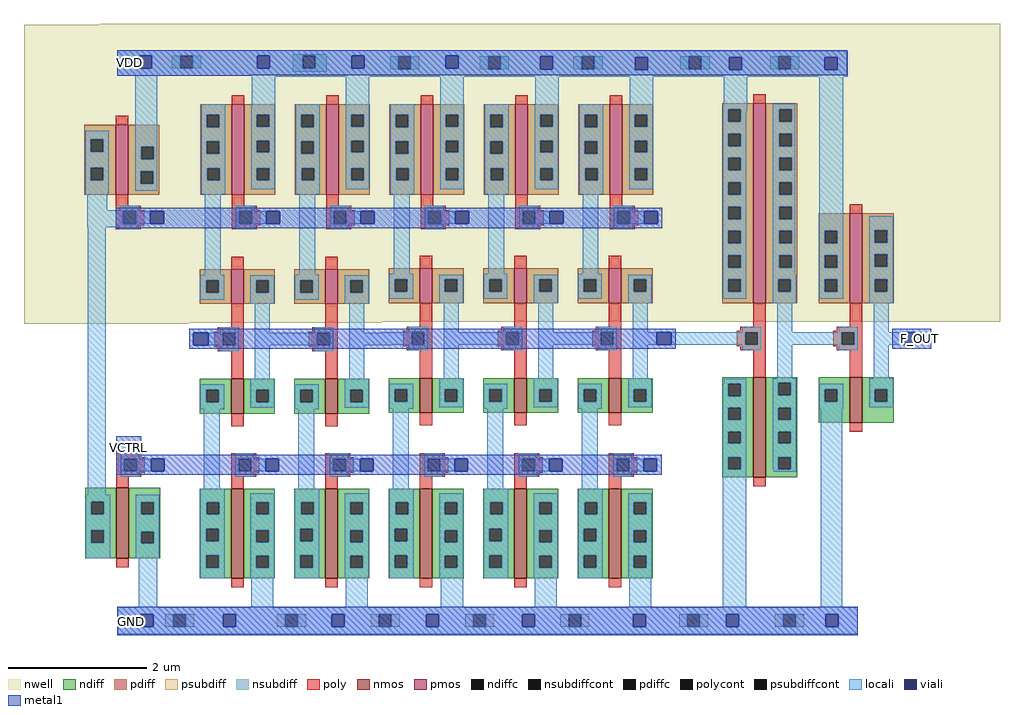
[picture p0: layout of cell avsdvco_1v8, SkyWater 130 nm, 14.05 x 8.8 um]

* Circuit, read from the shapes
.subckt avsdvco_1v8 F_OUT GND VCTRL VDD
XM1 GND VCTRL n1 GND sky130_fd_pr__nfet_01v8 w=1.01 l=0.18
XM2 GND VCTRL n2 GND sky130_fd_pr__nfet_01v8 w=1.29 l=0.18
XM3 n3 n4 n2 GND sky130_fd_pr__nfet_01v8 w=0.5 l=0.18
XM4 GND VCTRL n5 GND sky130_fd_pr__nfet_01v8 w=1.29 l=0.18
XM5 n6 n3 n5 GND sky130_fd_pr__nfet_01v8 w=0.5 l=0.18
XM6 GND VCTRL n7 GND sky130_fd_pr__nfet_01v8 w=1.29 l=0.18
XM7 n8 n6 n7 GND sky130_fd_pr__nfet_01v8 w=0.5 l=0.18
XM8 GND VCTRL n9 GND sky130_fd_pr__nfet_01v8 w=1.29 l=0.18
XM9 n10 n8 n9 GND sky130_fd_pr__nfet_01v8 w=0.5 l=0.18
XM10 GND VCTRL n11 GND sky130_fd_pr__nfet_01v8 w=1.29 l=0.18
XM11 n4 n10 n11 GND sky130_fd_pr__nfet_01v8 w=0.5 l=0.18
XM12 n12 n4 GND GND sky130_fd_pr__nfet_01v8 w=1.44 l=0.18
XM13 F_OUT n12 GND GND sky130_fd_pr__nfet_01v8 w=0.65 l=0.18
XM14 VDD n1 n1 VDD sky130_fd_pr__pfet_01v8 w=1.01 l=0.18
XM15 n3 n4 n13 VDD sky130_fd_pr__pfet_01v8 w=0.5 l=0.18
XM16 VDD n1 n13 VDD sky130_fd_pr__pfet_01v8 w=1.3 l=0.18
XM17 n6 n3 n14 VDD sky130_fd_pr__pfet_01v8 w=0.5 l=0.18
XM18 VDD n1 n14 VDD sky130_fd_pr__pfet_01v8 w=1.3 l=0.18
XM19 n8 n6 n15 VDD sky130_fd_pr__pfet_01v8 w=0.5 l=0.18
XM20 VDD n1 n15 VDD sky130_fd_pr__pfet_01v8 w=1.3 l=0.18
XM21 n10 n8 n16 VDD sky130_fd_pr__pfet_01v8 w=0.5 l=0.18
XM22 VDD n1 n16 VDD sky130_fd_pr__pfet_01v8 w=1.3 l=0.18
XM23 n4 n10 n17 VDD sky130_fd_pr__pfet_01v8 w=0.5 l=0.18
XM24 VDD n1 n17 VDD sky130_fd_pr__pfet_01v8 w=1.3 l=0.18
XM25 n12 n4 VDD VDD sky130_fd_pr__pfet_01v8 w=2.88 l=0.18
XM26 F_OUT n12 VDD VDD sky130_fd_pr__pfet_01v8 w=1.29 l=0.18
.ends

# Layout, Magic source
magic
tech sky130A
<< nwell >>
rect -156 55 1139 56
rect -266 -373 1139 55
rect -266 -374 249 -373
rect -266 -376 -28 -374
<< nmos >>
rect 32 -505 50 -455
rect 168 -505 186 -455
rect 304 -504 322 -454
rect 440 -504 458 -454
rect 576 -504 594 -454
rect -133 -713 -115 -612
rect 784 -597 802 -453
rect 923 -518 941 -453
rect 32 -742 50 -613
rect 168 -742 186 -613
rect 304 -742 322 -613
rect 440 -742 458 -613
rect 576 -742 594 -613
<< pmos >>
rect -134 -190 -116 -89
rect 33 -190 51 -60
rect 169 -190 187 -60
rect 305 -190 323 -60
rect 441 -190 459 -60
rect 577 -190 595 -60
rect 32 -347 50 -297
rect 168 -347 186 -297
rect 304 -346 322 -296
rect 440 -346 458 -296
rect 576 -346 594 -296
rect 784 -346 802 -58
rect 923 -346 941 -217
<< ndiff >>
rect -13 -471 32 -455
rect -13 -489 -4 -471
rect 14 -489 32 -471
rect -13 -505 32 -489
rect 50 -471 95 -455
rect 50 -489 68 -471
rect 86 -489 95 -471
rect 50 -505 95 -489
rect 123 -471 168 -455
rect 123 -489 132 -471
rect 150 -489 168 -471
rect 123 -505 168 -489
rect 186 -471 231 -455
rect 186 -489 204 -471
rect 222 -489 231 -471
rect 186 -505 231 -489
rect 259 -470 304 -454
rect 259 -488 268 -470
rect 286 -488 304 -470
rect 259 -504 304 -488
rect 322 -470 367 -454
rect 322 -488 340 -470
rect 358 -488 367 -470
rect 322 -504 367 -488
rect 395 -470 440 -454
rect 395 -488 404 -470
rect 422 -488 440 -470
rect 395 -504 440 -488
rect 458 -470 503 -454
rect 458 -488 476 -470
rect 494 -488 503 -470
rect 458 -504 503 -488
rect 531 -470 576 -454
rect 531 -488 540 -470
rect 558 -488 576 -470
rect 531 -504 576 -488
rect 594 -470 639 -454
rect 594 -488 612 -470
rect 630 -488 639 -470
rect 594 -504 639 -488
rect 739 -462 784 -453
rect 739 -480 748 -462
rect 766 -480 784 -462
rect 739 -497 784 -480
rect 739 -514 748 -497
rect 766 -514 784 -497
rect 739 -531 784 -514
rect 739 -548 748 -531
rect 766 -548 784 -531
rect 739 -568 784 -548
rect 739 -585 748 -568
rect 766 -585 784 -568
rect -178 -632 -133 -612
rect -178 -650 -169 -632
rect -151 -650 -133 -632
rect -178 -673 -133 -650
rect -178 -691 -169 -673
rect -151 -691 -133 -673
rect -178 -713 -133 -691
rect -115 -633 -70 -612
rect 739 -597 784 -585
rect 802 -461 847 -453
rect 802 -479 820 -461
rect 838 -479 847 -461
rect 802 -497 847 -479
rect 802 -514 820 -497
rect 838 -514 847 -497
rect 802 -531 847 -514
rect 878 -470 923 -453
rect 878 -488 887 -470
rect 905 -488 923 -470
rect 878 -518 923 -488
rect 941 -470 986 -453
rect 941 -488 959 -470
rect 977 -488 986 -470
rect 941 -518 986 -488
rect 802 -548 820 -531
rect 838 -548 847 -531
rect 802 -568 847 -548
rect 802 -585 820 -568
rect 838 -585 847 -568
rect 802 -597 847 -585
rect -115 -650 -97 -633
rect -79 -650 -70 -633
rect -115 -675 -70 -650
rect -115 -692 -97 -675
rect -79 -692 -70 -675
rect -115 -713 -70 -692
rect -13 -633 32 -613
rect -13 -650 -3 -633
rect 15 -650 32 -633
rect -13 -671 32 -650
rect -13 -689 -4 -671
rect 14 -689 32 -671
rect -13 -709 32 -689
rect -13 -727 -4 -709
rect 14 -727 32 -709
rect -13 -742 32 -727
rect 50 -633 95 -613
rect 50 -650 68 -633
rect 86 -650 95 -633
rect 50 -673 95 -650
rect 50 -690 68 -673
rect 86 -690 95 -673
rect 50 -710 95 -690
rect 50 -727 68 -710
rect 86 -727 95 -710
rect 50 -742 95 -727
rect 123 -633 168 -613
rect 123 -650 133 -633
rect 151 -650 168 -633
rect 123 -671 168 -650
rect 123 -689 132 -671
rect 150 -689 168 -671
rect 123 -709 168 -689
rect 123 -727 132 -709
rect 150 -727 168 -709
rect 123 -742 168 -727
rect 186 -633 231 -613
rect 186 -650 204 -633
rect 222 -650 231 -633
rect 186 -673 231 -650
rect 186 -690 204 -673
rect 222 -690 231 -673
rect 186 -710 231 -690
rect 186 -727 204 -710
rect 222 -727 231 -710
rect 186 -742 231 -727
rect 259 -633 304 -613
rect 259 -650 269 -633
rect 287 -650 304 -633
rect 259 -671 304 -650
rect 259 -689 268 -671
rect 286 -689 304 -671
rect 259 -709 304 -689
rect 259 -727 268 -709
rect 286 -727 304 -709
rect 259 -742 304 -727
rect 322 -633 367 -613
rect 322 -650 340 -633
rect 358 -650 367 -633
rect 322 -673 367 -650
rect 322 -690 340 -673
rect 358 -690 367 -673
rect 322 -710 367 -690
rect 322 -727 340 -710
rect 358 -727 367 -710
rect 322 -742 367 -727
rect 395 -633 440 -613
rect 395 -650 405 -633
rect 423 -650 440 -633
rect 395 -671 440 -650
rect 395 -689 404 -671
rect 422 -689 440 -671
rect 395 -709 440 -689
rect 395 -727 404 -709
rect 422 -727 440 -709
rect 395 -742 440 -727
rect 458 -633 503 -613
rect 458 -650 476 -633
rect 494 -650 503 -633
rect 458 -673 503 -650
rect 458 -690 476 -673
rect 494 -690 503 -673
rect 458 -710 503 -690
rect 458 -727 476 -710
rect 494 -727 503 -710
rect 458 -742 503 -727
rect 531 -633 576 -613
rect 531 -650 541 -633
rect 559 -650 576 -633
rect 531 -671 576 -650
rect 531 -689 540 -671
rect 558 -689 576 -671
rect 531 -709 576 -689
rect 531 -727 540 -709
rect 558 -727 576 -709
rect 531 -742 576 -727
rect 594 -633 639 -613
rect 594 -650 612 -633
rect 630 -650 639 -633
rect 594 -673 639 -650
rect 594 -690 612 -673
rect 630 -690 639 -673
rect 594 -710 639 -690
rect 594 -727 612 -710
rect 630 -727 639 -710
rect 594 -742 639 -727
<< pdiff >>
rect -12 -75 33 -60
rect -179 -110 -134 -89
rect -179 -128 -170 -110
rect -152 -128 -134 -110
rect -179 -151 -134 -128
rect -179 -169 -170 -151
rect -152 -169 -134 -151
rect -179 -190 -134 -169
rect -116 -121 -71 -89
rect -116 -139 -97 -121
rect -79 -139 -71 -121
rect -116 -156 -71 -139
rect -116 -174 -98 -156
rect -80 -174 -71 -156
rect -116 -190 -71 -174
rect -12 -93 -3 -75
rect 15 -93 33 -75
rect -12 -113 33 -93
rect -12 -131 -3 -113
rect 15 -131 33 -113
rect -12 -152 33 -131
rect -12 -169 -2 -152
rect 16 -169 33 -152
rect -12 -190 33 -169
rect 51 -75 96 -60
rect 51 -92 69 -75
rect 87 -92 96 -75
rect 51 -112 96 -92
rect 51 -129 69 -112
rect 87 -129 96 -112
rect 51 -152 96 -129
rect 51 -169 69 -152
rect 87 -169 96 -152
rect 51 -190 96 -169
rect 124 -75 169 -60
rect 124 -93 133 -75
rect 151 -93 169 -75
rect 124 -113 169 -93
rect 124 -131 133 -113
rect 151 -131 169 -113
rect 124 -152 169 -131
rect 124 -169 134 -152
rect 152 -169 169 -152
rect 124 -190 169 -169
rect 187 -75 232 -60
rect 187 -92 205 -75
rect 223 -92 232 -75
rect 187 -112 232 -92
rect 187 -129 205 -112
rect 223 -129 232 -112
rect 187 -152 232 -129
rect 187 -169 205 -152
rect 223 -169 232 -152
rect 187 -190 232 -169
rect 260 -75 305 -60
rect 260 -93 269 -75
rect 287 -93 305 -75
rect 260 -113 305 -93
rect 260 -131 269 -113
rect 287 -131 305 -113
rect 260 -152 305 -131
rect 260 -169 270 -152
rect 288 -169 305 -152
rect 260 -190 305 -169
rect 323 -75 368 -60
rect 323 -92 341 -75
rect 359 -92 368 -75
rect 323 -112 368 -92
rect 323 -129 341 -112
rect 359 -129 368 -112
rect 323 -152 368 -129
rect 323 -169 341 -152
rect 359 -169 368 -152
rect 323 -190 368 -169
rect 396 -75 441 -60
rect 396 -93 405 -75
rect 423 -93 441 -75
rect 396 -113 441 -93
rect 396 -131 405 -113
rect 423 -131 441 -113
rect 396 -152 441 -131
rect 396 -169 406 -152
rect 424 -169 441 -152
rect 396 -190 441 -169
rect 459 -75 504 -60
rect 459 -92 477 -75
rect 495 -92 504 -75
rect 459 -112 504 -92
rect 459 -129 477 -112
rect 495 -129 504 -112
rect 459 -152 504 -129
rect 459 -169 477 -152
rect 495 -169 504 -152
rect 459 -190 504 -169
rect 532 -75 577 -60
rect 532 -93 541 -75
rect 559 -93 577 -75
rect 532 -113 577 -93
rect 532 -131 541 -113
rect 559 -131 577 -113
rect 532 -152 577 -131
rect 532 -169 542 -152
rect 560 -169 577 -152
rect 532 -190 577 -169
rect 595 -75 640 -60
rect 595 -92 613 -75
rect 631 -92 640 -75
rect 595 -112 640 -92
rect 595 -129 613 -112
rect 631 -129 640 -112
rect 595 -152 640 -129
rect 595 -169 613 -152
rect 631 -169 640 -152
rect 595 -190 640 -169
rect 739 -67 784 -58
rect 739 -85 748 -67
rect 766 -85 784 -67
rect 739 -102 784 -85
rect 739 -120 748 -102
rect 766 -120 784 -102
rect 739 -137 784 -120
rect 739 -155 748 -137
rect 766 -155 784 -137
rect 739 -172 784 -155
rect 739 -190 748 -172
rect 766 -190 784 -172
rect 739 -207 784 -190
rect 739 -225 748 -207
rect 766 -225 784 -207
rect 739 -242 784 -225
rect 739 -260 748 -242
rect 766 -260 784 -242
rect 739 -277 784 -260
rect 739 -295 748 -277
rect 766 -295 784 -277
rect -13 -313 32 -297
rect -13 -331 -4 -313
rect 14 -331 32 -313
rect -13 -347 32 -331
rect 50 -313 95 -297
rect 50 -331 68 -313
rect 86 -331 95 -313
rect 50 -347 95 -331
rect 123 -313 168 -297
rect 123 -331 132 -313
rect 150 -331 168 -313
rect 123 -347 168 -331
rect 186 -313 231 -297
rect 186 -331 204 -313
rect 222 -331 231 -313
rect 186 -347 231 -331
rect 259 -312 304 -296
rect 259 -330 268 -312
rect 286 -330 304 -312
rect 259 -346 304 -330
rect 322 -312 367 -296
rect 322 -330 340 -312
rect 358 -330 367 -312
rect 322 -346 367 -330
rect 395 -312 440 -296
rect 395 -330 404 -312
rect 422 -330 440 -312
rect 395 -346 440 -330
rect 458 -312 503 -296
rect 458 -330 476 -312
rect 494 -330 503 -312
rect 458 -346 503 -330
rect 531 -312 576 -296
rect 531 -330 540 -312
rect 558 -330 576 -312
rect 531 -346 576 -330
rect 594 -312 639 -296
rect 594 -330 612 -312
rect 630 -330 639 -312
rect 594 -346 639 -330
rect 739 -312 784 -295
rect 739 -330 748 -312
rect 766 -330 784 -312
rect 739 -346 784 -330
rect 802 -67 847 -58
rect 802 -85 821 -67
rect 839 -85 847 -67
rect 802 -102 847 -85
rect 802 -120 821 -102
rect 839 -120 847 -102
rect 802 -137 847 -120
rect 802 -155 821 -137
rect 839 -155 847 -137
rect 802 -172 847 -155
rect 802 -190 821 -172
rect 839 -190 847 -172
rect 802 -207 847 -190
rect 802 -225 821 -207
rect 839 -225 847 -207
rect 802 -242 847 -225
rect 802 -260 821 -242
rect 839 -260 847 -242
rect 802 -277 847 -260
rect 802 -295 821 -277
rect 839 -295 847 -277
rect 802 -312 847 -295
rect 802 -330 820 -312
rect 838 -330 847 -312
rect 802 -346 847 -330
rect 878 -242 923 -217
rect 878 -260 887 -242
rect 905 -260 923 -242
rect 878 -277 923 -260
rect 878 -295 887 -277
rect 905 -295 923 -277
rect 878 -312 923 -295
rect 878 -330 887 -312
rect 905 -330 923 -312
rect 878 -346 923 -330
rect 941 -241 986 -217
rect 941 -259 959 -241
rect 977 -259 986 -241
rect 941 -276 986 -259
rect 941 -294 959 -276
rect 977 -294 986 -276
rect 941 -312 986 -294
rect 941 -330 959 -312
rect 977 -330 986 -312
rect 941 -346 986 -330
<< ndiffc >>
rect -4 -489 14 -471
rect 68 -489 86 -471
rect 132 -489 150 -471
rect 204 -489 222 -471
rect 268 -488 286 -470
rect 340 -488 358 -470
rect 404 -488 422 -470
rect 476 -488 494 -470
rect 540 -488 558 -470
rect 612 -488 630 -470
rect 748 -480 766 -462
rect 748 -514 766 -497
rect 748 -548 766 -531
rect 748 -585 766 -568
rect -169 -650 -151 -632
rect -169 -691 -151 -673
rect 820 -479 838 -461
rect 820 -514 838 -497
rect 887 -488 905 -470
rect 959 -488 977 -470
rect 820 -548 838 -531
rect 820 -585 838 -568
rect -97 -650 -79 -633
rect -97 -692 -79 -675
rect -3 -650 15 -633
rect -4 -689 14 -671
rect -4 -727 14 -709
rect 68 -650 86 -633
rect 68 -690 86 -673
rect 68 -727 86 -710
rect 133 -650 151 -633
rect 132 -689 150 -671
rect 132 -727 150 -709
rect 204 -650 222 -633
rect 204 -690 222 -673
rect 204 -727 222 -710
rect 269 -650 287 -633
rect 268 -689 286 -671
rect 268 -727 286 -709
rect 340 -650 358 -633
rect 340 -690 358 -673
rect 340 -727 358 -710
rect 405 -650 423 -633
rect 404 -689 422 -671
rect 404 -727 422 -709
rect 476 -650 494 -633
rect 476 -690 494 -673
rect 476 -727 494 -710
rect 541 -650 559 -633
rect 540 -689 558 -671
rect 540 -727 558 -709
rect 612 -650 630 -633
rect 612 -690 630 -673
rect 612 -727 630 -710
<< pdiffc >>
rect -170 -128 -152 -110
rect -170 -169 -152 -151
rect -97 -139 -79 -121
rect -98 -174 -80 -156
rect -3 -93 15 -75
rect -3 -131 15 -113
rect -2 -169 16 -152
rect 69 -92 87 -75
rect 69 -129 87 -112
rect 69 -169 87 -152
rect 133 -93 151 -75
rect 133 -131 151 -113
rect 134 -169 152 -152
rect 205 -92 223 -75
rect 205 -129 223 -112
rect 205 -169 223 -152
rect 269 -93 287 -75
rect 269 -131 287 -113
rect 270 -169 288 -152
rect 341 -92 359 -75
rect 341 -129 359 -112
rect 341 -169 359 -152
rect 405 -93 423 -75
rect 405 -131 423 -113
rect 406 -169 424 -152
rect 477 -92 495 -75
rect 477 -129 495 -112
rect 477 -169 495 -152
rect 541 -93 559 -75
rect 541 -131 559 -113
rect 542 -169 560 -152
rect 613 -92 631 -75
rect 613 -129 631 -112
rect 613 -169 631 -152
rect 748 -85 766 -67
rect 748 -120 766 -102
rect 748 -155 766 -137
rect 748 -190 766 -172
rect 748 -225 766 -207
rect 748 -260 766 -242
rect 748 -295 766 -277
rect -4 -331 14 -313
rect 68 -331 86 -313
rect 132 -331 150 -313
rect 204 -331 222 -313
rect 268 -330 286 -312
rect 340 -330 358 -312
rect 404 -330 422 -312
rect 476 -330 494 -312
rect 540 -330 558 -312
rect 612 -330 630 -312
rect 748 -330 766 -312
rect 821 -85 839 -67
rect 821 -120 839 -102
rect 821 -155 839 -137
rect 821 -190 839 -172
rect 821 -225 839 -207
rect 821 -260 839 -242
rect 821 -295 839 -277
rect 820 -330 838 -312
rect 887 -260 905 -242
rect 887 -295 905 -277
rect 887 -330 905 -312
rect 959 -259 977 -241
rect 959 -294 977 -276
rect 959 -330 977 -312
<< psubdiff >>
rect -63 -812 -51 -794
rect -33 -812 -21 -794
rect 98 -812 110 -794
rect 128 -812 140 -794
rect 233 -812 245 -794
rect 263 -812 275 -794
rect 369 -812 381 -794
rect 399 -812 411 -794
rect 506 -812 518 -794
rect 536 -812 548 -794
rect 677 -812 689 -794
rect 707 -812 719 -794
rect 815 -812 827 -794
rect 845 -812 857 -794
<< nsubdiff >>
rect 121 10 170 12
rect -53 -8 -41 10
rect -23 -8 -11 10
rect 121 -8 135 10
rect 153 -8 170 10
rect 121 -13 170 -8
rect 261 -9 273 9
rect 291 -9 303 9
rect 390 -9 402 9
rect 420 -9 432 9
rect 525 -9 537 9
rect 555 -9 567 9
rect 679 -9 691 9
rect 709 -9 721 9
rect 808 -9 820 9
rect 838 -9 850 9
<< psubdiffcont >>
rect -51 -812 -33 -794
rect 110 -812 128 -794
rect 245 -812 263 -794
rect 381 -812 399 -794
rect 518 -812 536 -794
rect 689 -812 707 -794
rect 827 -812 845 -794
<< nsubdiffcont >>
rect -41 -8 -23 10
rect 135 -8 153 10
rect 273 -9 291 9
rect 402 -9 420 9
rect 537 -9 555 9
rect 691 -9 709 9
rect 820 -9 838 9
<< poly >>
rect 33 -60 51 -47
rect 169 -60 187 -47
rect 305 -60 323 -47
rect 441 -60 459 -47
rect 577 -60 595 -47
rect 784 -58 802 -45
rect -134 -89 -116 -76
rect -134 -206 -116 -190
rect 33 -206 51 -190
rect 169 -206 187 -190
rect 305 -206 323 -190
rect 441 -206 459 -190
rect 577 -206 595 -190
rect -134 -212 -98 -206
rect 33 -212 69 -206
rect 169 -212 205 -206
rect 305 -212 341 -206
rect 441 -212 477 -206
rect 577 -212 613 -206
rect -134 -214 -93 -212
rect -134 -232 -123 -214
rect -105 -232 -93 -214
rect -134 -234 -93 -232
rect 33 -214 74 -212
rect 33 -232 44 -214
rect 62 -232 74 -214
rect 33 -234 74 -232
rect 169 -214 210 -212
rect 169 -232 180 -214
rect 198 -232 210 -214
rect 169 -234 210 -232
rect 305 -214 346 -212
rect 305 -232 316 -214
rect 334 -232 346 -214
rect 305 -234 346 -232
rect 441 -214 482 -212
rect 441 -232 452 -214
rect 470 -232 482 -214
rect 441 -234 482 -232
rect 577 -214 618 -212
rect 577 -232 588 -214
rect 606 -232 618 -214
rect 577 -234 618 -232
rect -134 -240 -98 -234
rect 33 -240 69 -234
rect 169 -240 205 -234
rect 305 -240 341 -234
rect 441 -240 477 -234
rect 577 -240 613 -234
rect 32 -297 50 -279
rect 168 -297 186 -279
rect 304 -296 322 -278
rect 440 -296 458 -278
rect 576 -296 594 -278
rect 923 -217 941 -204
rect 32 -381 50 -347
rect 168 -381 186 -347
rect 304 -380 322 -346
rect 440 -380 458 -346
rect 576 -380 594 -346
rect 784 -380 802 -346
rect 923 -380 941 -346
rect 13 -387 50 -381
rect 149 -387 186 -381
rect 285 -386 322 -380
rect 421 -386 458 -380
rect 557 -386 594 -380
rect 765 -386 802 -380
rect 904 -386 941 -380
rect 8 -389 50 -387
rect 8 -407 20 -389
rect 38 -407 50 -389
rect 8 -409 50 -407
rect 144 -389 186 -387
rect 144 -407 156 -389
rect 174 -407 186 -389
rect 144 -409 186 -407
rect 280 -388 322 -386
rect 280 -406 292 -388
rect 310 -406 322 -388
rect 280 -408 322 -406
rect 416 -388 458 -386
rect 416 -406 428 -388
rect 446 -406 458 -388
rect 416 -408 458 -406
rect 552 -388 594 -386
rect 552 -406 564 -388
rect 582 -406 594 -388
rect 552 -408 594 -406
rect 760 -388 802 -386
rect 760 -406 772 -388
rect 790 -406 802 -388
rect 760 -408 802 -406
rect 899 -388 941 -386
rect 899 -406 911 -388
rect 929 -406 941 -388
rect 899 -408 941 -406
rect 13 -415 50 -409
rect 149 -415 186 -409
rect 285 -414 322 -408
rect 421 -414 458 -408
rect 557 -414 594 -408
rect 765 -414 802 -408
rect 904 -414 941 -408
rect 32 -455 50 -415
rect 168 -455 186 -415
rect 304 -454 322 -414
rect 440 -454 458 -414
rect 576 -454 594 -414
rect 784 -453 802 -414
rect 923 -453 941 -414
rect 32 -523 50 -505
rect 168 -523 186 -505
rect 304 -522 322 -504
rect 440 -522 458 -504
rect 576 -522 594 -504
rect -133 -568 -97 -562
rect 32 -568 68 -562
rect 168 -568 204 -562
rect 304 -568 340 -562
rect 440 -568 476 -562
rect 576 -568 612 -562
rect -133 -570 -92 -568
rect -133 -588 -122 -570
rect -104 -588 -92 -570
rect -133 -590 -92 -588
rect 32 -570 73 -568
rect 32 -588 43 -570
rect 61 -588 73 -570
rect 32 -590 73 -588
rect 168 -570 209 -568
rect 168 -588 179 -570
rect 197 -588 209 -570
rect 168 -590 209 -588
rect 304 -570 345 -568
rect 304 -588 315 -570
rect 333 -588 345 -570
rect 304 -590 345 -588
rect 440 -570 481 -568
rect 440 -588 451 -570
rect 469 -588 481 -570
rect 440 -590 481 -588
rect 576 -570 617 -568
rect 576 -588 587 -570
rect 605 -588 617 -570
rect 576 -590 617 -588
rect -133 -596 -97 -590
rect 32 -596 68 -590
rect 168 -596 204 -590
rect 304 -596 340 -590
rect 440 -596 476 -590
rect 576 -596 612 -590
rect -133 -612 -115 -596
rect 32 -613 50 -596
rect 168 -613 186 -596
rect 304 -613 322 -596
rect 440 -613 458 -596
rect 576 -613 594 -596
rect 923 -531 941 -518
rect 784 -610 802 -597
rect -133 -726 -115 -713
rect 32 -755 50 -742
rect 168 -755 186 -742
rect 304 -755 322 -742
rect 440 -755 458 -742
rect 576 -755 594 -742
<< polycont >>
rect -123 -232 -105 -214
rect 44 -232 62 -214
rect 180 -232 198 -214
rect 316 -232 334 -214
rect 452 -232 470 -214
rect 588 -232 606 -214
rect 20 -407 38 -389
rect 156 -407 174 -389
rect 292 -406 310 -388
rect 428 -406 446 -388
rect 564 -406 582 -388
rect 772 -406 790 -388
rect 911 -406 929 -388
rect -122 -588 -104 -570
rect 43 -588 61 -570
rect 179 -588 197 -570
rect 315 -588 333 -570
rect 451 -588 469 -570
rect 587 -588 605 -570
<< locali >>
rect -132 17 637 18
rect -132 10 920 17
rect -132 -8 -100 10
rect -82 -8 -41 10
rect -23 -8 70 10
rect 88 -8 135 10
rect 153 -8 206 10
rect 224 9 341 10
rect 224 -8 273 9
rect -132 -9 273 -8
rect 291 -8 341 9
rect 359 9 920 10
rect 359 -8 402 9
rect 291 -9 402 -8
rect 420 -9 477 9
rect 495 -9 537 9
rect 555 8 691 9
rect 555 -9 614 8
rect -132 -10 614 -9
rect 632 -9 691 8
rect 709 8 820 9
rect 709 -9 749 8
rect 632 -10 749 -9
rect 767 -9 820 8
rect 838 8 920 9
rect 838 -9 887 8
rect 767 -10 887 -9
rect 905 -10 920 8
rect -132 -19 920 -10
rect -178 -110 -144 -98
rect -178 -128 -170 -110
rect -152 -128 -144 -110
rect -178 -151 -144 -128
rect -178 -169 -170 -151
rect -152 -169 -144 -151
rect -178 -188 -144 -169
rect -106 -121 -74 -19
rect 61 -20 920 -19
rect 62 -60 96 -20
rect -106 -139 -97 -121
rect -79 -139 -74 -121
rect -106 -156 -74 -139
rect -106 -174 -98 -156
rect -80 -174 -74 -156
rect -106 -184 -74 -174
rect -11 -75 24 -60
rect -11 -93 -3 -75
rect 15 -93 24 -75
rect -11 -113 24 -93
rect -11 -131 -3 -113
rect 15 -131 24 -113
rect -11 -152 24 -131
rect -11 -169 -2 -152
rect 16 -169 24 -152
rect -178 -190 -146 -188
rect -11 -189 24 -169
rect 61 -75 95 -60
rect 61 -92 69 -75
rect 87 -92 95 -75
rect 61 -112 95 -92
rect 61 -129 69 -112
rect 87 -129 95 -112
rect 61 -152 95 -129
rect 61 -169 69 -152
rect 87 -169 95 -152
rect 61 -182 95 -169
rect 125 -75 160 -60
rect 125 -93 133 -75
rect 151 -93 160 -75
rect 125 -113 160 -93
rect 125 -131 133 -113
rect 151 -131 160 -113
rect 125 -152 160 -131
rect 125 -169 134 -152
rect 152 -169 160 -152
rect 125 -189 160 -169
rect 197 -75 231 -20
rect 197 -92 205 -75
rect 223 -92 231 -75
rect 197 -112 231 -92
rect 197 -129 205 -112
rect 223 -129 231 -112
rect 197 -152 231 -129
rect 197 -169 205 -152
rect 223 -169 231 -152
rect 197 -182 231 -169
rect 261 -75 296 -60
rect 261 -93 269 -75
rect 287 -93 296 -75
rect 261 -113 296 -93
rect 261 -131 269 -113
rect 287 -131 296 -113
rect 261 -152 296 -131
rect 261 -169 270 -152
rect 288 -169 296 -152
rect 261 -189 296 -169
rect 333 -75 367 -20
rect 470 -60 504 -20
rect 606 -60 640 -20
rect 333 -92 341 -75
rect 359 -92 367 -75
rect 333 -112 367 -92
rect 333 -129 341 -112
rect 359 -129 367 -112
rect 333 -152 367 -129
rect 333 -169 341 -152
rect 359 -169 367 -152
rect 333 -182 367 -169
rect 397 -75 432 -60
rect 397 -93 405 -75
rect 423 -93 432 -75
rect 397 -113 432 -93
rect 397 -131 405 -113
rect 423 -131 432 -113
rect 397 -152 432 -131
rect 397 -169 406 -152
rect 424 -169 432 -152
rect 397 -189 432 -169
rect 469 -61 504 -60
rect 469 -75 503 -61
rect 469 -92 477 -75
rect 495 -92 503 -75
rect 469 -112 503 -92
rect 469 -129 477 -112
rect 495 -129 503 -112
rect 469 -152 503 -129
rect 469 -169 477 -152
rect 495 -169 503 -152
rect 469 -182 503 -169
rect 533 -75 568 -60
rect 533 -93 541 -75
rect 559 -93 568 -75
rect 533 -113 568 -93
rect 533 -131 541 -113
rect 559 -131 568 -113
rect 533 -152 568 -131
rect 533 -169 542 -152
rect 560 -169 568 -152
rect 533 -189 568 -169
rect 605 -62 640 -60
rect 741 -62 775 -20
rect 605 -75 639 -62
rect 605 -92 613 -75
rect 631 -92 639 -75
rect 605 -112 639 -92
rect 605 -129 613 -112
rect 631 -129 639 -112
rect 605 -152 639 -129
rect 605 -169 613 -152
rect 631 -169 639 -152
rect 605 -182 639 -169
rect 740 -67 775 -62
rect 740 -85 748 -67
rect 766 -69 775 -67
rect 812 -67 844 -59
rect 766 -85 774 -69
rect 740 -102 774 -85
rect 740 -120 748 -102
rect 766 -120 774 -102
rect 740 -137 774 -120
rect 740 -155 748 -137
rect 766 -155 774 -137
rect 740 -172 774 -155
rect -175 -212 -146 -190
rect -6 -190 18 -189
rect 130 -190 154 -189
rect 266 -190 290 -189
rect 402 -190 426 -189
rect 538 -190 562 -189
rect 740 -190 748 -172
rect 766 -190 774 -172
rect -128 -212 -101 -206
rect -175 -214 -101 -212
rect -175 -232 -123 -214
rect -105 -232 -84 -214
rect -175 -237 -101 -232
rect -174 -622 -148 -237
rect -128 -240 -101 -237
rect -6 -305 17 -190
rect 39 -214 66 -206
rect 39 -232 44 -214
rect 62 -232 83 -214
rect 39 -240 66 -232
rect 130 -305 153 -190
rect 175 -214 202 -206
rect 175 -232 180 -214
rect 198 -232 219 -214
rect 175 -240 202 -232
rect 266 -304 289 -190
rect 311 -214 338 -206
rect 311 -232 316 -214
rect 334 -232 355 -214
rect 311 -240 338 -232
rect 402 -304 425 -190
rect 447 -214 474 -206
rect 447 -232 452 -214
rect 470 -232 491 -214
rect 447 -240 474 -232
rect 538 -304 561 -190
rect 583 -214 610 -206
rect 740 -207 774 -190
rect 583 -232 588 -214
rect 606 -232 627 -214
rect 740 -225 748 -207
rect 766 -225 774 -207
rect 583 -240 610 -232
rect 740 -242 774 -225
rect 740 -260 748 -242
rect 766 -260 774 -242
rect 740 -277 774 -260
rect 740 -295 748 -277
rect 766 -295 774 -277
rect -12 -313 22 -305
rect -12 -331 -4 -313
rect 14 -331 22 -313
rect -12 -341 22 -331
rect 60 -313 94 -306
rect 60 -331 68 -313
rect 86 -331 94 -313
rect 60 -347 94 -331
rect 124 -313 158 -305
rect 124 -331 132 -313
rect 150 -331 158 -313
rect 124 -341 158 -331
rect 196 -313 230 -306
rect 196 -331 204 -313
rect 222 -331 230 -313
rect 196 -347 230 -331
rect 260 -312 294 -304
rect 260 -330 268 -312
rect 286 -330 294 -312
rect 260 -340 294 -330
rect 332 -312 366 -305
rect 332 -330 340 -312
rect 358 -330 366 -312
rect 332 -346 366 -330
rect 396 -312 430 -304
rect 396 -330 404 -312
rect 422 -330 430 -312
rect 396 -340 430 -330
rect 468 -312 502 -305
rect 468 -330 476 -312
rect 494 -330 502 -312
rect 468 -346 502 -330
rect 532 -312 566 -304
rect 532 -330 540 -312
rect 558 -330 566 -312
rect 532 -340 566 -330
rect 604 -312 638 -305
rect 604 -330 612 -312
rect 630 -330 638 -312
rect 604 -346 638 -330
rect 740 -312 774 -295
rect 740 -330 748 -312
rect 766 -330 774 -312
rect 740 -340 774 -330
rect 812 -85 821 -67
rect 839 -85 844 -67
rect 812 -102 844 -85
rect 812 -120 821 -102
rect 839 -120 844 -102
rect 812 -137 844 -120
rect 812 -155 821 -137
rect 839 -155 844 -137
rect 812 -172 844 -155
rect 812 -190 821 -172
rect 839 -190 844 -172
rect 812 -207 844 -190
rect 812 -225 821 -207
rect 839 -225 844 -207
rect 812 -242 844 -225
rect 812 -260 821 -242
rect 839 -260 844 -242
rect 812 -277 844 -260
rect 812 -295 821 -277
rect 839 -295 844 -277
rect 812 -305 844 -295
rect 879 -242 913 -20
rect 879 -260 887 -242
rect 905 -260 913 -242
rect 879 -277 913 -260
rect 879 -295 887 -277
rect 905 -295 913 -277
rect 812 -312 846 -305
rect 812 -330 820 -312
rect 838 -330 846 -312
rect 812 -346 846 -330
rect 879 -312 913 -295
rect 879 -330 887 -312
rect 905 -330 913 -312
rect 879 -340 913 -330
rect 951 -241 985 -221
rect 951 -259 959 -241
rect 977 -259 985 -241
rect 951 -276 985 -259
rect 951 -294 959 -276
rect 977 -294 985 -276
rect 951 -312 985 -294
rect 951 -330 959 -312
rect 977 -330 985 -312
rect 951 -346 985 -330
rect 16 -389 43 -381
rect -1 -407 20 -389
rect 38 -407 43 -389
rect 16 -415 43 -407
rect 66 -389 88 -347
rect 152 -389 179 -381
rect 66 -407 156 -389
rect 174 -407 179 -389
rect 66 -455 88 -407
rect 152 -415 179 -407
rect 202 -389 224 -347
rect 288 -388 315 -380
rect 250 -389 292 -388
rect 202 -406 292 -389
rect 310 -406 315 -388
rect 202 -407 264 -406
rect 202 -455 224 -407
rect 288 -414 315 -406
rect 338 -388 360 -346
rect 424 -388 451 -380
rect 338 -406 428 -388
rect 446 -406 451 -388
rect 338 -454 360 -406
rect 424 -414 451 -406
rect 474 -388 496 -346
rect 560 -388 587 -380
rect 474 -406 564 -388
rect 582 -406 587 -388
rect 474 -454 496 -406
rect 560 -414 587 -406
rect 610 -388 632 -346
rect 768 -388 795 -380
rect 610 -406 645 -388
rect 666 -406 772 -388
rect 790 -406 795 -388
rect 610 -454 632 -406
rect 768 -414 795 -406
rect 818 -388 840 -346
rect 907 -388 934 -380
rect 818 -406 911 -388
rect 929 -406 934 -388
rect 818 -454 840 -406
rect 907 -414 934 -406
rect 957 -388 979 -346
rect 957 -406 999 -388
rect 957 -454 979 -406
rect -12 -471 22 -463
rect -12 -489 -4 -471
rect 14 -489 22 -471
rect -12 -499 22 -489
rect 60 -471 94 -455
rect 60 -489 68 -471
rect 86 -489 94 -471
rect 60 -497 94 -489
rect 124 -471 158 -463
rect 124 -489 132 -471
rect 150 -489 158 -471
rect 124 -499 158 -489
rect 196 -471 230 -455
rect 196 -489 204 -471
rect 222 -489 230 -471
rect 196 -497 230 -489
rect 260 -470 294 -462
rect 260 -488 268 -470
rect 286 -488 294 -470
rect 260 -498 294 -488
rect 332 -470 366 -454
rect 332 -488 340 -470
rect 358 -488 366 -470
rect 332 -496 366 -488
rect 396 -470 430 -462
rect 396 -488 404 -470
rect 422 -488 430 -470
rect 396 -498 430 -488
rect 468 -470 502 -454
rect 468 -488 476 -470
rect 494 -488 502 -470
rect 468 -496 502 -488
rect 532 -470 566 -462
rect 532 -488 540 -470
rect 558 -488 566 -470
rect 532 -498 566 -488
rect 604 -470 638 -454
rect 741 -462 774 -455
rect 604 -488 612 -470
rect 630 -488 638 -470
rect 604 -496 638 -488
rect 740 -480 748 -462
rect 766 -480 774 -462
rect 740 -497 774 -480
rect -127 -570 -100 -562
rect -127 -588 -122 -570
rect -104 -588 -83 -570
rect -127 -596 -100 -588
rect -7 -612 16 -499
rect 38 -570 65 -562
rect 38 -588 43 -570
rect 61 -588 82 -570
rect 38 -596 65 -588
rect 129 -612 152 -499
rect 174 -570 201 -562
rect 174 -588 179 -570
rect 197 -588 218 -570
rect 174 -596 201 -588
rect 265 -612 288 -498
rect 310 -570 337 -562
rect 310 -588 315 -570
rect 333 -588 354 -570
rect 310 -596 337 -588
rect 401 -612 424 -498
rect 446 -570 473 -562
rect 446 -588 451 -570
rect 469 -588 490 -570
rect 446 -596 473 -588
rect 537 -612 560 -498
rect 740 -514 748 -497
rect 766 -514 774 -497
rect 740 -531 774 -514
rect 740 -548 748 -531
rect 766 -548 774 -531
rect 582 -570 609 -562
rect 740 -568 774 -548
rect 582 -588 587 -570
rect 605 -588 626 -570
rect 740 -585 748 -568
rect 766 -585 774 -568
rect 812 -461 846 -454
rect 812 -479 820 -461
rect 838 -479 846 -461
rect 812 -497 846 -479
rect 812 -514 820 -497
rect 838 -514 846 -497
rect 879 -470 913 -462
rect 879 -488 887 -470
rect 905 -488 913 -470
rect 879 -498 913 -488
rect 951 -470 985 -454
rect 951 -488 959 -470
rect 977 -488 985 -470
rect 951 -496 985 -488
rect 812 -531 846 -514
rect 812 -548 820 -531
rect 838 -548 846 -531
rect 812 -568 846 -548
rect 812 -585 820 -568
rect 838 -585 846 -568
rect 582 -596 609 -588
rect -7 -613 17 -612
rect 129 -613 153 -612
rect 265 -613 289 -612
rect 401 -613 425 -612
rect 537 -613 561 -612
rect -177 -632 -142 -622
rect -177 -650 -169 -632
rect -151 -650 -142 -632
rect -177 -673 -142 -650
rect -177 -691 -169 -673
rect -151 -691 -142 -673
rect -177 -713 -142 -691
rect -105 -633 -71 -622
rect -105 -650 -97 -633
rect -79 -650 -71 -633
rect -105 -675 -71 -650
rect -105 -692 -97 -675
rect -79 -692 -71 -675
rect -105 -713 -71 -692
rect -12 -633 23 -613
rect -12 -650 -3 -633
rect 15 -650 23 -633
rect -12 -671 23 -650
rect -12 -689 -4 -671
rect 14 -689 23 -671
rect -12 -709 23 -689
rect -101 -784 -74 -713
rect -12 -727 -4 -709
rect 14 -727 23 -709
rect -12 -742 23 -727
rect 60 -633 94 -620
rect 60 -650 68 -633
rect 86 -650 94 -633
rect 60 -673 94 -650
rect 60 -690 68 -673
rect 86 -690 94 -673
rect 60 -710 94 -690
rect 60 -727 68 -710
rect 86 -727 94 -710
rect 60 -742 94 -727
rect 124 -633 159 -613
rect 124 -650 133 -633
rect 151 -650 159 -633
rect 124 -671 159 -650
rect 124 -689 132 -671
rect 150 -689 159 -671
rect 124 -709 159 -689
rect 124 -727 132 -709
rect 150 -727 159 -709
rect 124 -742 159 -727
rect 196 -633 230 -620
rect 196 -650 204 -633
rect 222 -650 230 -633
rect 196 -673 230 -650
rect 196 -690 204 -673
rect 222 -690 230 -673
rect 196 -710 230 -690
rect 196 -727 204 -710
rect 222 -727 230 -710
rect 196 -742 230 -727
rect 260 -633 295 -613
rect 260 -650 269 -633
rect 287 -650 295 -633
rect 260 -671 295 -650
rect 260 -689 268 -671
rect 286 -689 295 -671
rect 260 -709 295 -689
rect 260 -727 268 -709
rect 286 -727 295 -709
rect 260 -742 295 -727
rect 332 -633 366 -620
rect 332 -650 340 -633
rect 358 -650 366 -633
rect 332 -673 366 -650
rect 332 -690 340 -673
rect 358 -690 366 -673
rect 332 -710 366 -690
rect 332 -727 340 -710
rect 358 -727 366 -710
rect 332 -742 366 -727
rect 396 -633 431 -613
rect 396 -650 405 -633
rect 423 -650 431 -633
rect 396 -671 431 -650
rect 396 -689 404 -671
rect 422 -689 431 -671
rect 396 -709 431 -689
rect 396 -727 404 -709
rect 422 -727 431 -709
rect 396 -742 431 -727
rect 468 -633 502 -620
rect 468 -650 476 -633
rect 494 -650 502 -633
rect 468 -673 502 -650
rect 468 -690 476 -673
rect 494 -690 502 -673
rect 468 -710 502 -690
rect 468 -727 476 -710
rect 494 -727 502 -710
rect 468 -742 502 -727
rect 532 -633 567 -613
rect 532 -650 541 -633
rect 559 -650 567 -633
rect 532 -671 567 -650
rect 532 -689 540 -671
rect 558 -689 567 -671
rect 532 -709 567 -689
rect 532 -727 540 -709
rect 558 -727 567 -709
rect 532 -742 567 -727
rect 604 -633 638 -620
rect 604 -650 612 -633
rect 630 -650 638 -633
rect 604 -673 638 -650
rect 604 -690 612 -673
rect 630 -690 638 -673
rect 604 -710 638 -690
rect 604 -727 612 -710
rect 630 -727 638 -710
rect 604 -742 638 -727
rect 61 -784 93 -742
rect 197 -784 229 -742
rect 334 -784 366 -742
rect 469 -784 501 -742
rect 605 -784 637 -742
rect 740 -784 774 -585
rect 813 -589 846 -585
rect 881 -784 912 -498
rect -131 -794 934 -784
rect -131 -812 -98 -794
rect -80 -812 -51 -794
rect -33 -812 21 -794
rect 39 -812 110 -794
rect 128 -812 177 -794
rect 195 -812 245 -794
rect 263 -812 313 -794
rect 331 -812 381 -794
rect 399 -812 451 -794
rect 469 -812 518 -794
rect 536 -812 611 -794
rect 629 -812 689 -794
rect 707 -812 745 -794
rect 763 -812 827 -794
rect 845 -812 888 -794
rect 906 -812 934 -794
rect -131 -823 934 -812
<< viali >>
rect -100 -8 -82 10
rect 70 -8 88 10
rect 206 -8 224 10
rect 341 -8 359 10
rect 477 -9 495 9
rect 614 -10 632 8
rect 749 -10 767 8
rect 887 -10 905 8
rect -84 -232 -65 -214
rect 83 -232 102 -214
rect 219 -232 238 -214
rect 355 -232 374 -214
rect 491 -232 510 -214
rect 627 -232 646 -214
rect -22 -407 -1 -389
rect 645 -406 666 -388
rect 999 -406 1017 -388
rect -83 -588 -64 -570
rect 82 -588 101 -570
rect 218 -588 237 -570
rect 354 -588 373 -570
rect 490 -588 509 -570
rect 626 -588 645 -570
rect -98 -812 -80 -794
rect 21 -812 39 -794
rect 177 -812 195 -794
rect 313 -812 331 -794
rect 451 -812 469 -794
rect 611 -812 629 -794
rect 745 -812 763 -794
rect 888 -812 906 -794
<< metal1 >>
rect -132 10 919 18
rect -132 -8 -100 10
rect -82 -8 70 10
rect 88 -8 206 10
rect 224 -8 341 10
rect 359 9 919 10
rect 359 -8 477 9
rect -132 -9 477 -8
rect 495 8 919 9
rect 495 -9 614 8
rect -132 -10 614 -9
rect 632 -10 749 8
rect 767 -10 887 8
rect 905 -10 919 8
rect -132 -18 919 -10
rect -132 -19 58 -18
rect -134 -214 653 -209
rect -134 -232 -84 -214
rect -65 -232 83 -214
rect 102 -232 219 -214
rect 238 -232 355 -214
rect 374 -232 491 -214
rect 510 -232 627 -214
rect 646 -232 653 -214
rect -134 -238 653 -232
rect -28 -388 672 -383
rect -28 -389 645 -388
rect -28 -407 -22 -389
rect -1 -406 645 -389
rect 666 -406 672 -388
rect -1 -407 672 -406
rect -28 -412 672 -407
rect 984 -388 1040 -383
rect 984 -406 999 -388
rect 1017 -406 1040 -388
rect 984 -412 1040 -406
rect -133 -564 -97 -538
rect -133 -570 652 -564
rect -133 -588 -83 -570
rect -64 -588 82 -570
rect 101 -588 218 -570
rect 237 -588 354 -570
rect 373 -588 490 -570
rect 509 -588 626 -570
rect 645 -588 652 -570
rect -133 -593 652 -588
rect -132 -794 934 -783
rect -132 -812 -98 -794
rect -80 -812 21 -794
rect 39 -812 177 -794
rect 195 -812 313 -794
rect 331 -812 451 -794
rect 469 -812 611 -794
rect 629 -812 745 -794
rect 763 -812 888 -794
rect 906 -812 934 -794
rect -132 -824 934 -812
<< labels >>
flabel metal1 -126 -556 -104 -551 0 FreeSans 40 0 0 80 VCTRL
flabel metal1 -117 -10 -112 12 0 FreeSans 40 270 0 -80 VDD
flabel metal1 1021 -406 1024 -388 0 FreeSans 40 90 0 -80 F_OUT
flabel metal1 -114 -817 -109 -792 0 FreeSans 40 270 0 -80 GND
<< end >>
